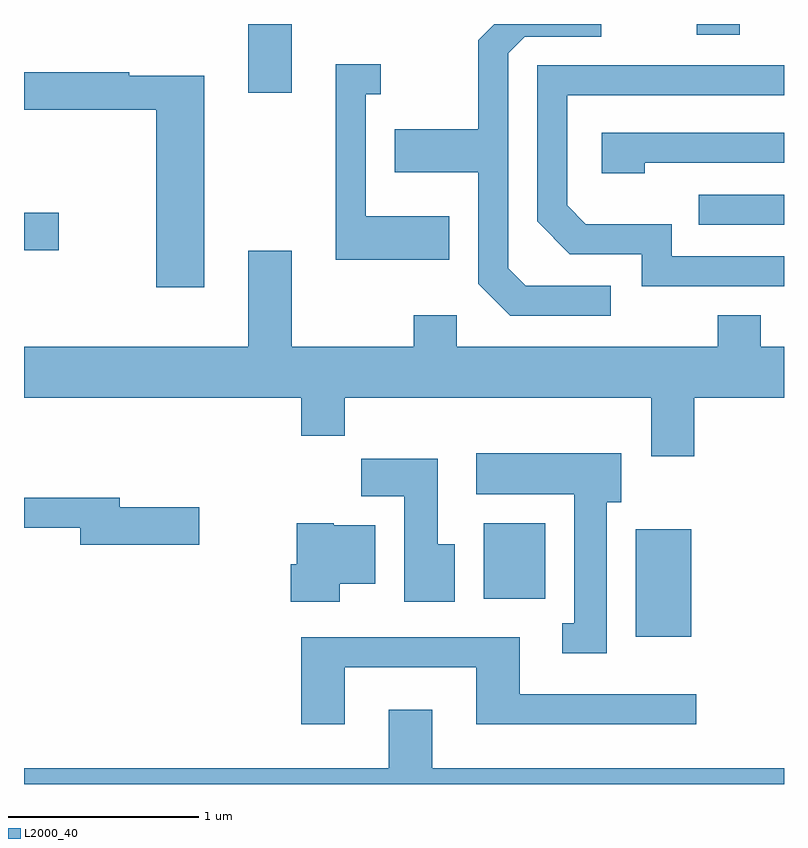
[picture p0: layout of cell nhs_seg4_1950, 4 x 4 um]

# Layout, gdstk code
import gdstk
lib = gdstk.Library(unit=1e-6, precision=1e-09)
def R(c, l, rs):  # rectangles x0, y0, x1, y1
    for r in rs: c.add(gdstk.rectangle(r[:2], r[2:], *l))
def P(c, l, *ps):  # polygons
    for p in ps: c.add(gdstk.Polygon(p, *l))
L2000_40 = (2000, 40)

nhs_seg4_1950 = lib.new_cell('nhs_seg4_1950')
R(nhs_seg4_1950, L2000_40, [(244.831,1346.756,245.124,1347.324), (244.031,1346.956,244.354,1347.354), (241.611,1348.791,241.794,1348.989), (245.163,1348.926,245.611,1349.084), (242.791,1349.621,243.019,1349.982), (245.151,1349.926,245.379,1349.982)])
P(nhs_seg4_1950, L2000_40, [(244.698,1348.604),(244.252,1348.604),(244.159,1348.697),(244.159,1349.829),(244.247,1349.916),(244.648,1349.916),(244.648,1349.982),(244.086,1349.982),(244.001,1349.897),(244.001,1349.429),(243.561,1349.429),(243.561,1349.201),(244.001,1349.201),(244.001,1348.614),(244.169,1348.446),(244.698,1348.446)],
  [(243.849,1348.969),(243.409,1348.969),(243.409,1349.611),(243.488,1349.611),(243.488,1349.769),(243.251,1349.769),(243.251,1348.741),(243.849,1348.741)],
  [(245.611,1348.759),(245.019,1348.759),(245.019,1348.929),(244.567,1348.929),(244.469,1349.027),(244.469,1349.606),(245.611,1349.606),(245.611,1349.764),(244.311,1349.764),(244.311,1348.944),(244.484,1348.771),(244.861,1348.771),(244.861,1348.601),(245.611,1348.601)],
  [(242.559,1349.709),(242.164,1349.709),(242.164,1349.729),(241.611,1349.729),(241.611,1349.531),(242.306,1349.531),(242.306,1348.596),(242.559,1348.596)],
  [(244.879,1349.251),(245.611,1349.251),(245.611,1349.409),(244.651,1349.409),(244.651,1349.196),(244.879,1349.196)],
  [(243.661,1348.449),(243.661,1348.284),(243.019,1348.284),(243.019,1348.789),(242.791,1348.789),(242.791,1348.284),(241.611,1348.284),(241.611,1348.016),(243.071,1348.016),(243.071,1347.816),(243.299,1347.816),(243.299,1348.016),(244.911,1348.016),(244.911,1347.706),(245.139,1347.706),(245.139,1348.016),(245.611,1348.016),(245.611,1348.284),(245.489,1348.284),(245.489,1348.449),(245.261,1348.449),(245.261,1348.284),(243.889,1348.284),(243.889,1348.449)],
  [(244.679,1347.466),(244.754,1347.466),(244.754,1347.724),(243.991,1347.724),(243.991,1347.506),(244.506,1347.506),(244.506,1346.829),(244.443,1346.829),(244.443,1346.671),(244.679,1346.671)],
  [(243.879,1347.244),(243.789,1347.244),(243.789,1347.694),(243.386,1347.694),(243.386,1347.496),(243.611,1347.496),(243.611,1346.941),(243.879,1346.941)],
  [(242.534,1347.439),(242.114,1347.439),(242.114,1347.489),(241.611,1347.489),(241.611,1347.331),(241.906,1347.331),(241.906,1347.241),(242.534,1347.241)],
  [(243.274,1347.036),(243.459,1347.036),(243.459,1347.344),(243.24,1347.344),(243.24,1347.354),(243.046,1347.354),(243.046,1347.139),(243.016,1347.139),(243.016,1346.941),(243.274,1346.941)],
  [(243.299,1346.596),(243.991,1346.596),(243.991,1346.296),(245.148,1346.296),(245.148,1346.454),(244.219,1346.454),(244.219,1346.754),(243.071,1346.754),(243.071,1346.296),(243.299,1346.296)],
  [(245.611,1346.064),(243.759,1346.064),(243.759,1346.374),(243.531,1346.374),(243.531,1346.064),(241.611,1346.064),(241.611,1345.982),(245.611,1345.982)])

lib.write_gds('nhs_seg4_1950.gds')
